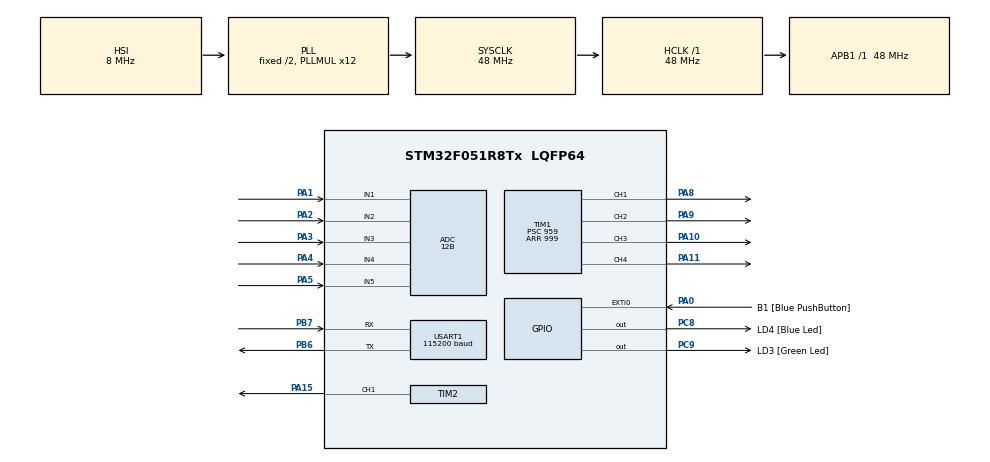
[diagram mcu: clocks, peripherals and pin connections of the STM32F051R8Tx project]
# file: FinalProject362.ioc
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ADC.ClockPrescaler=ADC_CLOCK_ASYNC_DIV1
ADC.ContinuousConvMode=DISABLE
ADC.DMAContinuousRequests=DISABLE
ADC.DataAlign=ADC_DATAALIGN_RIGHT
ADC.DiscontinuousConvMode=DISABLE
ADC.EOCSelection=ADC_EOC_SINGLE_CONV
ADC.EnableAnalogWatchDog=false
ADC.ExternalTrigConv=ADC_SOFTWARE_START
ADC.ExternalTrigConvEdge=ADC_EXTERNALTRIGCONVEDGE_NONE
ADC.LowPowerAutoPowerOff=DISABLE
ADC.LowPowerAutoWait=DISABLE
ADC.Overrun=ADC_OVR_DATA_PRESERVED
ADC.Resolution=ADC_RESOLUTION_12B
ADC.SamplingTime=ADC_SAMPLETIME_1CYCLE_5
ADC.ScanConvMode=ADC_SCAN_DIRECTION_FORWARD
Dma.Request0=USART1_RX
Dma.USART1_RX.0.Direction=DMA_PERIPH_TO_MEMORY
Dma.USART1_RX.0.Instance=DMA1_Channel3
Dma.USART1_RX.0.MemDataAlignment=DMA_MDATAALIGN_BYTE
Dma.USART1_RX.0.MemInc=DMA_MINC_ENABLE
Dma.USART1_RX.0.Mode=DMA_NORMAL
Dma.USART1_RX.0.PeriphDataAlignment=DMA_PDATAALIGN_BYTE
Dma.USART1_RX.0.PeriphInc=DMA_PINC_DISABLE
Dma.USART1_RX.0.Priority=DMA_PRIORITY_LOW
Mcu.Family=STM32F0
Mcu.Name=STM32F051R8Tx
Mcu.Package=LQFP64
NVIC.DMA1_Channel2_3_IRQn=true\:0\:0\:false\:false\:true\:false
NVIC.TIM3_IRQn=true\:0\:0\:false\:false\:true\:true
PA0.GPIO_Label=B1 [Blue PushButton]
PA0.GPIO_ModeDefaultEXTI=GPIO_MODE_EVT_RISING
PA0.Signal=GPXTI0
PA1.Mode=IN1
PA1.Signal=ADC_IN1
PA10.Signal=S_TIM1_CH3
PA11.Signal=S_TIM1_CH4
PA13.GPIO_Label=SWDIO
PA13.Mode=Serial_Wire
PA13.Signal=SYS_SWDIO
PA14.GPIO_Label=SWCLK
PA14.Mode=Serial_Wire
PA14.Signal=SYS_SWCLK
PA15.Signal=S_TIM2_CH1_ETR
PA2.Mode=IN2
PA2.Signal=ADC_IN2
PA3.Mode=IN3
PA3.Signal=ADC_IN3
PA4.Mode=IN4
PA4.Signal=ADC_IN4
PA5.Mode=IN5
PA5.Signal=ADC_IN5
PA8.Signal=S_TIM1_CH1
PA9.Signal=S_TIM1_CH2
PB6.Mode=Asynchronous
PB6.Signal=USART1_TX
PB7.Mode=Asynchronous
PB7.Signal=USART1_RX
PC8.GPIO_Label=LD4 [Blue Led]
PC8.Signal=GPIO_Output
PC9.GPIO_Label=LD3 [Green Led]
PC9.Signal=GPIO_Output
ProjectManager.HeapSize=0x200
ProjectManager.StackSize=0x400
ProjectManager.TargetToolchain=SW4STM32
RCC.AHBFreq_Value=48000000
RCC.APB1Freq_Value=48000000
RCC.APB1TimFreq_Value=48000000
RCC.HCLKFreq_Value=48000000
RCC.PLLMUL=RCC_PLL_MUL12
RCC.SYSCLKFreq_VALUE=48000000
RCC.SYSCLKSource=RCC_SYSCLKSOURCE_PLLCLK
SH.S_TIM1_CH1.0=TIM1_CH1,PWM Generation1 CH1
SH.S_TIM1_CH2.0=TIM1_CH2,PWM Generation2 CH2
SH.S_TIM1_CH3.0=TIM1_CH3,PWM Generation3 CH3
SH.S_TIM1_CH4.0=TIM1_CH4,PWM Generation4 CH4
SH.S_TIM2_CH1_ETR.0=TIM2_CH1,PWM Generation1 CH1
TIM1.Channel-PWM\ Generation1\ CH1=TIM_CHANNEL_1
TIM1.Channel-PWM\ Generation2\ CH2=TIM_CHANNEL_2
TIM1.Channel-PWM\ Generation3\ CH3=TIM_CHANNEL_3
TIM1.Channel-PWM\ Generation4\ CH4=TIM_CHANNEL_4
TIM1.Period=999
TIM1.Prescaler=959
TIM2.Channel-PWM\ Generation1\ CH1=TIM_CHANNEL_1
TIM2.Period=999
TIM2.Prescaler=959
TIM3.Period=999
TIM3.Prescaler=48000
USART1.BaudRate=115200
USART1.Mode=MODE_TX
USART1.VirtualMode-Asynchronous=VM_ASYNC
VP_TIM1_VS_ClockSourceINT.Mode=Internal
VP_TIM2_VS_ClockSourceINT.Mode=Internal
VP_TIM3_VS_ClockSourceINT.Mode=Internal
board=STM32F0DISCOVERY

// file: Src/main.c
/**
  ******************************************************************************
  * @file           : main.c
  * @brief          : Main program body
  ******************************************************************************
  ** This notice applies to any and all portions of this file
  * that are not between comment pairs USER CODE BEGIN and
  * USER CODE END. Other portions of this file, whether
  * inserted by the user or by software development tools
  * are owned by their respective copyright owners.
  *
  * COPYRIGHT(c) 2018 STMicroelectronics
  *
  * Redistribution and use in source and binary forms, with or without modification,
  * are permitted provided that the following conditions are met:
  *   1. Redistributions of source code must retain the above copyright notice,
  *      this list of conditions and the following disclaimer.
  *   2. Redistributions in binary form must reproduce the above copyright notice,
  *      this list of conditions and the following disclaimer in the documentation
  *      and/or other materials provided with the distribution.
  *   3. Neither the name of STMicroelectronics nor the names of its contributors
  *      may be used to endorse or promote products derived from this software
  *      without specific prior written permission.
  *
  * THIS SOFTWARE IS PROVIDED BY THE COPYRIGHT HOLDERS AND CONTRIBUTORS "AS IS"
  * AND ANY EXPRESS OR IMPLIED WARRANTIES, INCLUDING, BUT NOT LIMITED TO, THE
  * IMPLIED WARRANTIES OF MERCHANTABILITY AND FITNESS FOR A PARTICULAR PURPOSE ARE
  * DISCLAIMED. IN NO EVENT SHALL THE COPYRIGHT HOLDER OR CONTRIBUTORS BE LIABLE
  * FOR ANY DIRECT, INDIRECT, INCIDENTAL, SPECIAL, EXEMPLARY, OR CONSEQUENTIAL
  * DAMAGES (INCLUDING, BUT NOT LIMITED TO, PROCUREMENT OF SUBSTITUTE GOODS OR
  * SERVICES; LOSS OF USE, DATA, OR PROFITS; OR BUSINESS INTERRUPTION) HOWEVER
  * CAUSED AND ON ANY THEORY OF LIABILITY, WHETHER IN CONTRACT, STRICT LIABILITY,
  * OR TORT (INCLUDING NEGLIGENCE OR OTHERWISE) ARISING IN ANY WAY OUT OF THE USE
  * OF THIS SOFTWARE, EVEN IF ADVISED OF THE POSSIBILITY OF SUCH DAMAGE.
  *
  ******************************************************************************
  */
#include "main.h"
#include "stm32f0xx_hal.h"

/* USER CODE BEGIN Includes */
#include <string.h>
/* USER CODE END Includes */

ADC_HandleTypeDef hadc;

TIM_HandleTypeDef htim1;
TIM_HandleTypeDef htim2;
TIM_HandleTypeDef htim3;

UART_HandleTypeDef huart1;
DMA_HandleTypeDef hdma_usart1_rx;

/* USER CODE BEGIN PV */
/* Private variables ---------------------------------------------------------*/

/* USER CODE END PV */

void SystemClock_Config(void);
static void MX_GPIO_Init(void);
static void MX_DMA_Init(void);
static void MX_ADC_Init(void);
static void MX_TIM1_Init(void);
static void MX_TIM2_Init(void);
static void MX_TIM3_Init(void);
static void MX_USART1_UART_Init(void);

void HAL_TIM_MspPostInit(TIM_HandleTypeDef *htim);

/* USER CODE BEGIN PFP */
/* Private function prototypes -----------------------------------------------*/
uint32_t adcRead(void);
void adcEnableChannel(int channel);
/* USER CODE END PFP */

/* USER CODE BEGIN 0 */
uint32_t converted1;
uint32_t converted2;
uint32_t converted3;
uint32_t converted4;
uint32_t converted5;
static int msCount = 0;
int convertIT = 0;
int rsp[15] = {0, 2, 2, 1, 0, 1, 0, 0, 2, 1, 1, 2, 0, 2, 1};
int rspi = 0;
/* USER CODE END 0 */

int main(void)
{

  /* MCU Configuration----------------------------------------------------------*/

  /* Reset of all peripherals, Initializes the Flash interface and the Systick. */
  HAL_Init();

  /* Configure the system clock */
  SystemClock_Config();

  /* Initialize all configured peripherals */
  MX_GPIO_Init();
  MX_DMA_Init();
  MX_ADC_Init();
  MX_TIM1_Init();
  MX_TIM2_Init();
  MX_TIM3_Init();
  MX_USART1_UART_Init();
  /* USER CODE BEGIN 2 */
  HAL_TIM_PWM_Start(&htim1, TIM_CHANNEL_1);
  HAL_TIM_PWM_Start(&htim1, TIM_CHANNEL_2);
  HAL_TIM_PWM_Start(&htim1, TIM_CHANNEL_3);
  HAL_TIM_PWM_Start(&htim1, TIM_CHANNEL_4);
  HAL_TIM_PWM_Start(&htim2, TIM_CHANNEL_1);
  HAL_TIM_Base_Start_IT(&htim3);
  HAL_ADC_Start(&hadc);
  /* USER CODE END 2 */

  /* Infinite loop */
  while (1)
  {

  /* USER CODE BEGIN 3 */

	  // CLONE SCRIPT
	  // finger 5
	  adcEnableChannel(1);
	  converted1 = adcRead();
	  //__HAL_TIM_SET_COMPARE(&htim1, TIM_CHANNEL_1, converted1/25);
	  if (converted1 > 2100) {
		  __HAL_TIM_SET_COMPARE(&htim1, TIM_CHANNEL_1, 120);
	  }
	  else {
		  __HAL_TIM_SET_COMPARE(&htim1, TIM_CHANNEL_1, 30);
	  }
	  // finger 4
	  adcEnableChannel(2);
	  converted2 = adcRead();
	  //__HAL_TIM_SET_COMPARE(&htim1, TIM_CHANNEL_2, converted2/25);
	  if (converted2 > 2200) {
		  __HAL_TIM_SET_COMPARE(&htim1, TIM_CHANNEL_2, 60);
	  }
	  else {
		  __HAL_TIM_SET_COMPARE(&htim1, TIM_CHANNEL_2, 120);
	  }
	  // finger 3
	  adcEnableChannel(3);
	  converted3 = adcRead();
	  //__HAL_TIM_SET_COMPARE(&htim1, TIM_CHANNEL_3, converted3/25);
	  if (converted3 > 2300) {
		  __HAL_TIM_SET_COMPARE(&htim1, TIM_CHANNEL_3, 120);
	  }
	  else {
		  __HAL_TIM_SET_COMPARE(&htim1, TIM_CHANNEL_3, 30);
	  }
	  // finger 2
	  adcEnableChannel(4);
	  converted4 = adcRead();
	  //__HAL_TIM_SET_COMPARE(&htim1, TIM_CHANNEL_4, converted4/25);
	  if (converted4 > 2200) {
		  __HAL_TIM_SET_COMPARE(&htim1, TIM_CHANNEL_4, 70);
	  }
	  else {
		  __HAL_TIM_SET_COMPARE(&htim1, TIM_CHANNEL_4, 30);
	  }
	  // finger 1
	  adcEnableChannel(5);
	  converted5 = adcRead();
	  //__HAL_TIM_SET_COMPARE(&htim2, TIM_CHANNEL_1, 120);
	  if (converted5 > 2200) {
		  __HAL_TIM_SET_COMPARE(&htim2, TIM_CHANNEL_1, 120);
	  }
	  else {
		  __HAL_TIM_SET_COMPARE(&htim2, TIM_CHANNEL_1, 30);
	  }
	  // TRANSLATION SCRIPT
	  if (convertIT == 1) {
		  convertIT = 0;
		  if ( (converted1 > 2100) && (converted2 > 2200) && (converted3 > 2300) && (converted4 > 2200) && (converted5 > 2200) ) {
			  // NOTHING
		  }
		  // a
		  else if ( (converted1 > 2100) && (converted2 > 2200) && (converted3 > 2300) && (converted4 > 2200) && (converted5 < 2200) ) {
			  char alphabet[20] = "You entered: a\n\r";
			  HAL_UART_Transmit(&huart1, (uint8_t *)alphabet, strlen(alphabet), 10);
		  }
		  // b
		  else if ( (converted1 > 2100) && (converted2 > 2200) && (converted3 > 2300) && (converted4 < 2200) && (converted5 > 2500) ) {
			  char alphabet[20] = "You entered: b\n\r";
			  HAL_UART_Transmit(&huart1, (uint8_t *)alphabet, strlen(alphabet), 10);
		  }
		  // c
		  else if ( (converted1 > 2100) && (converted2 > 2200) && (converted3 > 2300) && (converted4 < 2200) && (converted5 < 2200) ) {
			  char alphabet[20] = "You entered: c\n\r";
			  HAL_UART_Transmit(&huart1, (uint8_t *)alphabet, strlen(alphabet), 10);
		  }
		  // d
		  else if ( (converted1 > 2100) && (converted2 > 2200) && (converted3 < 2300) && (converted4 > 2200) && (converted5 > 2200) ) {
			  char alphabet[20] = "You entered: d\n\r";
			  HAL_UART_Transmit(&huart1, (uint8_t *)alphabet, strlen(alphabet), 10);
		  }
		  // e
		  else if ( (converted1 > 2100) && (converted2 > 2200) && (converted3 < 2300) && (converted4 > 2200) && (converted5 < 2200) ) {
			  char alphabet[20] = "You entered: e\n\r";
			  HAL_UART_Transmit(&huart1, (uint8_t *)alphabet, strlen(alphabet), 10);
		  }
		  // f
		  else if ( (converted1 > 2100) && (converted2 > 2200) && (converted3 < 2300) && (converted4 < 2200) && (converted5 > 2200) ) {
			  char alphabet[20] = "You entered: f\n\r";
			  HAL_UART_Transmit(&huart1, (uint8_t *)alphabet, strlen(alphabet), 10);
		  }
		  // g
		  else if ( (converted1 > 2100) && (converted2 > 2200) && (converted3 < 2300) && (converted4 < 2200) && (converted5 < 2200) ) {
			  char alphabet[20] = "You entered: g\n\r";
			  HAL_UART_Transmit(&huart1, (uint8_t *)alphabet, strlen(alphabet), 10);
		  }
		  // h
		  else if ( (converted1 > 2100) && (converted2 < 2200) && (converted3 > 2300) && (converted4 > 2200) && (converted5 > 2200) ) {
			  char alphabet[20] = "You entered: h\n\r";
			  HAL_UART_Transmit(&huart1, (uint8_t *)alphabet, strlen(alphabet), 10);
		  }
		  // i
		  else if ( (converted1 > 2100) && (converted2 < 2200) && (converted3 > 2300) && (converted4 > 2200) && (converted5 < 2200) ) {
			  char alphabet[20] = "You entered: i\n\r";
			  HAL_UART_Transmit(&huart1, (uint8_t *)alphabet, strlen(alphabet), 10);
		  }
		  // j
		  else if ( (converted1 > 2100) && (converted2 < 2200) && (converted3 > 2300) && (converted4 < 2200) && (converted5 > 2200) ) {
			  char alphabet[20] = "You entered: j\n\r";
			  HAL_UART_Transmit(&huart1, (uint8_t *)alphabet, strlen(alphabet), 10);
		  }
		  // k
		  else if ( (converted1 > 2100) && (converted2 < 2200) && (converted3 > 2300) && (converted4 < 2200) && (converted5 < 2200) ) {
			  char alphabet[20] = "You entered: k\n\r";
			  HAL_UART_Transmit(&huart1, (uint8_t *)alphabet, strlen(alphabet), 10);
		  }
		  // l
		  else if ( (converted1 > 2100) && (converted2 < 2200) && (converted3 < 2300) && (converted4 > 2200) && (converted5 > 2200) ) {
			  char alphabet[20] = "You entered: l\n\r";
			  HAL_UART_Transmit(&huart1, (uint8_t *)alphabet, strlen(alphabet), 10);
		  }
		  // m
		  else if ( (converted1 > 2100) && (converted2 < 2200) && (converted3 < 2300) && (converted4 > 2200) && (converted5 < 2200) ) {
			  char alphabet[20] = "You entered: m\n\r";
			  HAL_UART_Transmit(&huart1, (uint8_t *)alphabet, strlen(alphabet), 10);
		  }
		  // n
		  else if ( (converted1 > 2100) && (converted2 < 2200) && (converted3 < 2300) && (converted4 < 2200) && (converted5 > 2200) ) {
			  char alphabet[20] = "You entered: n\n\r";
			  HAL_UART_Transmit(&huart1, (uint8_t *)alphabet, strlen(alphabet), 10);
		  }
		  // o
		  else if ( (converted1 > 2100) && (converted2 < 2200) && (converted3 < 2300) && (converted4 < 2200) && (converted5 < 2200) ) {
			  char alphabet[20] = "You entered: o\n\r";
			  HAL_UART_Transmit(&huart1, (uint8_t *)alphabet, strlen(alphabet), 10);
		  }
          // p
          else if ( (converted1 < 2100) && (converted2 > 2200) && (converted3 > 2300) && (converted4 > 2200) && (converted5 > 2200) ) {
              char alphabet[20] = "You entered: p\n\r";
              HAL_UART_Transmit(&huart1, (uint8_t *)alphabet, strlen(alphabet), 10);
          }
		  // q
		  else if ( (converted1 < 2100) && (converted2 > 2200) && (converted3 > 2300) && (converted4 > 2200) && (converted5 < 2200) ) {
			  char alphabet[20] = "You entered: q\n\r";
			  HAL_UART_Transmit(&huart1, (uint8_t *)alphabet, strlen(alphabet), 10);
		  }
		  // r
		  else if ( (converted1 < 2100) && (converted2 > 2200) && (converted3 > 2300) && (converted4 < 2200) && (converted5 > 2200) ) {
			  char alphabet[20] = "You entered: r\n\r";
			  HAL_UART_Transmit(&huart1, (uint8_t *)alphabet, strlen(alphabet), 10);
		  }
		  // s
		  else if ( (converted1 < 2100) && (converted2 > 2200) && (converted3 > 2300) && (converted4 < 2200) && (converted5 < 2200) ) {
			  char alphabet[20] = "You entered: s\n\r";
			  HAL_UART_Transmit(&huart1, (uint8_t *)alphabet, strlen(alphabet), 10);
		  }
		  // t
		  else if ( (converted1 < 2100) && (converted2 > 2200) && (converted3 < 2300) && (converted4 > 2200) && (converted5 > 2200) ) {
			  char alphabet[20] = "You entered: t\n\r";
			  HAL_UART_Transmit(&huart1, (uint8_t *)alphabet, strlen(alphabet), 10);
		  }
		  // u
		  else if ( (converted1 < 2100) && (converted2 > 2200) && (converted3 < 2300) && (converted4 > 2200) && (converted5 < 2200) ) {
			  char alphabet[20] = "You entered: u\n\r";
			  HAL_UART_Transmit(&huart1, (uint8_t *)alphabet, strlen(alphabet), 10);
		  }
		  // v
		  else if ( (converted1 < 2100) && (converted2 > 2200) && (converted3 < 2300) && (converted4 < 2200) && (converted5 > 2200) ) {
			  char alphabet[20] = "You entered: v\n\r";
			  HAL_UART_Transmit(&huart1, (uint8_t *)alphabet, strlen(alphabet), 10);
		  }
		  // w
		  else if ( (converted1 < 2100) && (converted2 > 2200) && (converted3 < 2300) && (converted4 < 2200) && (converted5 < 2200) ) {
			  char alphabet[20] = "You entered: w\n\r";
			  HAL_UART_Transmit(&huart1, (uint8_t *)alphabet, strlen(alphabet), 10);
		  }
		  // x
		  else if ( (converted1 < 2100) && (converted2 < 2200) && (converted3 > 2300) && (converted4 > 2200) && (converted5 > 2200) ) {
			  char alphabet[20] = "You entered: x\n\r";
			  HAL_UART_Transmit(&huart1, (uint8_t *)alphabet, strlen(alphabet), 10);
		  }
		  // y
		  else if ( (converted1 < 2100) && (converted2 < 2200) && (converted3 > 2300) && (converted4 > 2200) && (converted5 < 2200) ) {
			  char alphabet[20] = "You entered: y\n\r";
			  HAL_UART_Transmit(&huart1, (uint8_t *)alphabet, strlen(alphabet), 10);
		  }
		  // z
		  else if ( (converted1 < 2100) && (converted2 < 2200) && (converted3 > 2300) && (converted4 < 2200) && (converted5 > 2200) ) {
			  char alphabet[20] = "You entered: z\n\r";
			  HAL_UART_Transmit(&huart1, (uint8_t *)alphabet, strlen(alphabet), 10);
		  }
		  // space
		  else if ( (converted1 < 2100) && (converted2 < 2200) && (converted3 < 2300) && (converted4 < 2200) && (converted5 > 2200) ) {
			  char alphabet[20] = " ";
			  HAL_UART_Transmit(&huart1, (uint8_t *)alphabet, strlen(alphabet), 10);
		  }
		  // newline
		  else if ( (converted1 < 2100) && (converted2 < 2200) && (converted3 < 2300) && (converted4 < 2200) && (converted5 < 2200) ) {
			  char alphabet[20] = "\n\r";
			  HAL_UART_Transmit(&huart1, (uint8_t *)alphabet, strlen(alphabet), 10);
		  }
	  }
	  /*
	  // Rock Scissors Paper
	  if (convertIT == 1) {
		  convertIT = 0;
		  adcEnableChannel(1);
		  converted1 = adcRead();
		  adcEnableChannel(2);
		  converted2 = adcRead();
		  adcEnableChannel(3);
		  converted3 = adcRead();
		  adcEnableChannel(4);
		  converted4 = adcRead();
		  adcEnableChannel(5);
		  converted5 = adcRead();
		  if (rsp[rspi] == 0) {
			  __HAL_TIM_SET_COMPARE(&htim1, TIM_CHANNEL_1, 30);
			  __HAL_TIM_SET_COMPARE(&htim1, TIM_CHANNEL_2, 120);
			  __HAL_TIM_SET_COMPARE(&htim1, TIM_CHANNEL_3, 30);
			  __HAL_TIM_SET_COMPARE(&htim1, TIM_CHANNEL_4, 30);
			  __HAL_TIM_SET_COMPARE(&htim2, TIM_CHANNEL_1, 30);
			  if ( converted1 > 2200 && converted2 > 2200 && converted3 > 2200 && converted4 > 2200 && converted5 > 2200 ) {
				  char alphabet[20] = "You won!!\n\r";
				  HAL_UART_Transmit(&huart1, (uint8_t *)alphabet, strlen(alphabet), 10);
			  }
			  else {
				  char alphabet[20] = "You lost!!\n\r";
				  HAL_UART_Transmit(&huart1, (uint8_t *)alphabet, strlen(alphabet), 10);
			  }
		  }
		  else if (rsp[rspi] == 1) {
			  __HAL_TIM_SET_COMPARE(&htim1, TIM_CHANNEL_1, 30);
			  __HAL_TIM_SET_COMPARE(&htim1, TIM_CHANNEL_2, 120);
			  __HAL_TIM_SET_COMPARE(&htim1, TIM_CHANNEL_3, 120);
			  __HAL_TIM_SET_COMPARE(&htim1, TIM_CHANNEL_4, 120);
			  __HAL_TIM_SET_COMPARE(&htim2, TIM_CHANNEL_1, 30);
			  if ( converted1 < 2200 && converted2 < 2200 && converted3 < 2200 && converted4 < 2200 && converted5 < 2200 ) {
				  char alphabet[20] = "You won!!\n\r";
				  HAL_UART_Transmit(&huart1, (uint8_t *)alphabet, strlen(alphabet), 10);
			  }
			  else {
				  char alphabet[20] = "You lost!!\n\r";
				  HAL_UART_Transmit(&huart1, (uint8_t *)alphabet, strlen(alphabet), 10);
			  }
		  }
		  else if (rsp[rspi] == 2) {
			  __HAL_TIM_SET_COMPARE(&htim1, TIM_CHANNEL_1, 120);
			  __HAL_TIM_SET_COMPARE(&htim1, TIM_CHANNEL_2, 30);
			  __HAL_TIM_SET_COMPARE(&htim1, TIM_CHANNEL_3, 120);
			  __HAL_TIM_SET_COMPARE(&htim1, TIM_CHANNEL_4, 120);
			  __HAL_TIM_SET_COMPARE(&htim2, TIM_CHANNEL_1, 120);
			  if ( converted1 < 2200 && converted2 < 2200 && converted3 > 2000 && converted4 > 2000 && converted5 < 2200 ) {
				  char alphabet[20] = "You won!!\n\r";
				  HAL_UART_Transmit(&huart1, (uint8_t *)alphabet, strlen(alphabet), 10);
			  }
			  else {
				  char alphabet[20] = "You lost!!\n\r";
				  HAL_UART_Transmit(&huart1, (uint8_t *)alphabet, strlen(alphabet), 10);
			  }
		  }
	  }
	  */
  }
  /* USER CODE END 3 */
}

void SystemClock_Config(void)
{

  RCC_OscInitTypeDef RCC_OscInitStruct;
  RCC_ClkInitTypeDef RCC_ClkInitStruct;
  RCC_PeriphCLKInitTypeDef PeriphClkInit;

    /**Initializes the CPU, AHB and APB busses clocks
    */
  RCC_OscInitStruct.OscillatorType = RCC_OSCILLATORTYPE_HSI|RCC_OSCILLATORTYPE_HSI14;
  RCC_OscInitStruct.HSIState = RCC_HSI_ON;
  RCC_OscInitStruct.HSI14State = RCC_HSI14_ON;
  RCC_OscInitStruct.HSICalibrationValue = 16;
  RCC_OscInitStruct.HSI14CalibrationValue = 16;
  RCC_OscInitStruct.PLL.PLLState = RCC_PLL_ON;
  RCC_OscInitStruct.PLL.PLLSource = RCC_PLLSOURCE_HSI;
  RCC_OscInitStruct.PLL.PLLMUL = RCC_PLL_MUL12;
  RCC_OscInitStruct.PLL.PREDIV = RCC_PREDIV_DIV1;
  if (HAL_RCC_OscConfig(&RCC_OscInitStruct) != HAL_OK)
  {
    _Error_Handler(__FILE__, __LINE__);
  }

    /**Initializes the CPU, AHB and APB busses clocks
    */
  RCC_ClkInitStruct.ClockType = RCC_CLOCKTYPE_HCLK|RCC_CLOCKTYPE_SYSCLK
                              |RCC_CLOCKTYPE_PCLK1;
  RCC_ClkInitStruct.SYSCLKSource = RCC_SYSCLKSOURCE_PLLCLK;
  RCC_ClkInitStruct.AHBCLKDivider = RCC_SYSCLK_DIV1;
  RCC_ClkInitStruct.APB1CLKDivider = RCC_HCLK_DIV1;

  if (HAL_RCC_ClockConfig(&RCC_ClkInitStruct, FLASH_LATENCY_1) != HAL_OK)
  {
    _Error_Handler(__FILE__, __LINE__);
  }

  PeriphClkInit.PeriphClockSelection = RCC_PERIPHCLK_USART1;
  PeriphClkInit.Usart1ClockSelection = RCC_USART1CLKSOURCE_PCLK1;
  if (HAL_RCCEx_PeriphCLKConfig(&PeriphClkInit) != HAL_OK)
  {
    _Error_Handler(__FILE__, __LINE__);
  }

    /**Configure the Systick interrupt time
    */
  HAL_SYSTICK_Config(HAL_RCC_GetHCLKFreq()/1000);

    /**Configure the Systick
    */
  HAL_SYSTICK_CLKSourceConfig(SYSTICK_CLKSOURCE_HCLK);

  /* SysTick_IRQn interrupt configuration */
  HAL_NVIC_SetPriority(SysTick_IRQn, 0, 0);
}

/* ADC init function */
static void MX_ADC_Init(void)
{

  ADC_ChannelConfTypeDef sConfig;

    /**Configure the global features of the ADC (Clock, Resolution, Data Alignment and number of conversion)
    */
  hadc.Instance = ADC1;
  hadc.Init.ClockPrescaler = ADC_CLOCK_ASYNC_DIV1;
  hadc.Init.Resolution = ADC_RESOLUTION_12B;
  hadc.Init.DataAlign = ADC_DATAALIGN_RIGHT;
  hadc.Init.ScanConvMode = ADC_SCAN_DIRECTION_FORWARD;
  hadc.Init.EOCSelection = ADC_EOC_SINGLE_CONV;
  hadc.Init.LowPowerAutoWait = DISABLE;
  hadc.Init.LowPowerAutoPowerOff = DISABLE;
  hadc.Init.ContinuousConvMode = DISABLE;
  hadc.Init.DiscontinuousConvMode = DISABLE;
  hadc.Init.ExternalTrigConv = ADC_SOFTWARE_START;
  hadc.Init.ExternalTrigConvEdge = ADC_EXTERNALTRIGCONVEDGE_NONE;
  hadc.Init.DMAContinuousRequests = DISABLE;
  hadc.Init.Overrun = ADC_OVR_DATA_PRESERVED;
  if (HAL_ADC_Init(&hadc) != HAL_OK)
  {
    _Error_Handler(__FILE__, __LINE__);
  }

    /**Configure for the selected ADC regular channel to be converted.
    */
  sConfig.Channel = ADC_CHANNEL_1;
  sConfig.Rank = ADC_RANK_CHANNEL_NUMBER;
  sConfig.SamplingTime = ADC_SAMPLETIME_1CYCLE_5;
  if (HAL_ADC_ConfigChannel(&hadc, &sConfig) != HAL_OK)
  {
    _Error_Handler(__FILE__, __LINE__);
  }

    /**Configure for the selected ADC regular channel to be converted.
    */
  sConfig.Channel = ADC_CHANNEL_2;
  if (HAL_ADC_ConfigChannel(&hadc, &sConfig) != HAL_OK)
  {
    _Error_Handler(__FILE__, __LINE__);
  }

    /**Configure for the selected ADC regular channel to be converted.
    */
  sConfig.Channel = ADC_CHANNEL_3;
  if (HAL_ADC_ConfigChannel(&hadc, &sConfig) != HAL_OK)
  {
    _Error_Handler(__FILE__, __LINE__);
  }

    /**Configure for the selected ADC regular channel to be converted.
    */
  sConfig.Channel = ADC_CHANNEL_4;
  if (HAL_ADC_ConfigChannel(&hadc, &sConfig) != HAL_OK)
  {
    _Error_Handler(__FILE__, __LINE__);
  }

    /**Configure for the selected ADC regular channel to be converted.
    */
  sConfig.Channel = ADC_CHANNEL_5;
  if (HAL_ADC_ConfigChannel(&hadc, &sConfig) != HAL_OK)
  {
    _Error_Handler(__FILE__, __LINE__);
  }

}

/* TIM1 init function */
static void MX_TIM1_Init(void)
{

  TIM_ClockConfigTypeDef sClockSourceConfig;
  TIM_MasterConfigTypeDef sMasterConfig;
  TIM_OC_InitTypeDef sConfigOC;
  TIM_BreakDeadTimeConfigTypeDef sBreakDeadTimeConfig;

  htim1.Instance = TIM1;
  htim1.Init.Prescaler = 959;
  htim1.Init.CounterMode = TIM_COUNTERMODE_UP;
  htim1.Init.Period = 999;
  htim1.Init.ClockDivision = TIM_CLOCKDIVISION_DIV1;
  htim1.Init.RepetitionCounter = 0;
  htim1.Init.AutoReloadPreload = TIM_AUTORELOAD_PRELOAD_DISABLE;
  if (HAL_TIM_Base_Init(&htim1) != HAL_OK)
  {
    _Error_Handler(__FILE__, __LINE__);
  }

  sClockSourceConfig.ClockSource = TIM_CLOCKSOURCE_INTERNAL;
  if (HAL_TIM_ConfigClockSource(&htim1, &sClockSourceConfig) != HAL_OK)
  {
    _Error_Handler(__FILE__, __LINE__);
  }

  if (HAL_TIM_PWM_Init(&htim1) != HAL_OK)
  {
    _Error_Handler(__FILE__, __LINE__);
  }

  sMasterConfig.MasterOutputTrigger = TIM_TRGO_RESET;
  sMasterConfig.MasterSlaveMode = TIM_MASTERSLAVEMODE_DISABLE;
  if (HAL_TIMEx_MasterConfigSynchronization(&htim1, &sMasterConfig) != HAL_OK)
  {
    _Error_Handler(__FILE__, __LINE__);
  }

  sConfigOC.OCMode = TIM_OCMODE_PWM1;
  sConfigOC.Pulse = 0;
  sConfigOC.OCPolarity = TIM_OCPOLARITY_HIGH;
  sConfigOC.OCNPolarity = TIM_OCNPOLARITY_HIGH;
  sConfigOC.OCFastMode = TIM_OCFAST_DISABLE;
  sConfigOC.OCIdleState = TIM_OCIDLESTATE_RESET;
  sConfigOC.OCNIdleState = TIM_OCNIDLESTATE_RESET;
  if (HAL_TIM_PWM_ConfigChannel(&htim1, &sConfigOC, TIM_CHANNEL_1) != HAL_OK)
  {
    _Error_Handler(__FILE__, __LINE__);
  }

  if (HAL_TIM_PWM_ConfigChannel(&htim1, &sConfigOC, TIM_CHANNEL_2) != HAL_OK)
  {
    _Error_Handler(__FILE__, __LINE__);
  }

  if (HAL_TIM_PWM_ConfigChannel(&htim1, &sConfigOC, TIM_CHANNEL_3) != HAL_OK)
  {
    _Error_Handler(__FILE__, __LINE__);
  }

  if (HAL_TIM_PWM_ConfigChannel(&htim1, &sConfigOC, TIM_CHANNEL_4) != HAL_OK)
  {
    _Error_Handler(__FILE__, __LINE__);
  }

  sBreakDeadTimeConfig.OffStateRunMode = TIM_OSSR_DISABLE;
  sBreakDeadTimeConfig.OffStateIDLEMode = TIM_OSSI_DISABLE;
  sBreakDeadTimeConfig.LockLevel = TIM_LOCKLEVEL_OFF;
  sBreakDeadTimeConfig.DeadTime = 0;
  sBreakDeadTimeConfig.BreakState = TIM_BREAK_DISABLE;
  sBreakDeadTimeConfig.BreakPolarity = TIM_BREAKPOLARITY_HIGH;
  sBreakDeadTimeConfig.AutomaticOutput = TIM_AUTOMATICOUTPUT_DISABLE;
  if (HAL_TIMEx_ConfigBreakDeadTime(&htim1, &sBreakDeadTimeConfig) != HAL_OK)
  {
    _Error_Handler(__FILE__, __LINE__);
  }

  HAL_TIM_MspPostInit(&htim1);

}

/* TIM2 init function */
static void MX_TIM2_Init(void)
{

  TIM_ClockConfigTypeDef sClockSourceConfig;
  TIM_MasterConfigTypeDef sMasterConfig;
  TIM_OC_InitTypeDef sConfigOC;

  htim2.Instance = TIM2;
  htim2.Init.Prescaler = 959;
  htim2.Init.CounterMode = TIM_COUNTERMODE_UP;
  htim2.Init.Period = 999;
  htim2.Init.ClockDivision = TIM_CLOCKDIVISION_DIV1;
  htim2.Init.AutoReloadPreload = TIM_AUTORELOAD_PRELOAD_DISABLE;
  if (HAL_TIM_Base_Init(&htim2) != HAL_OK)
  {
    _Error_Handler(__FILE__, __LINE__);
  }

  sClockSourceConfig.ClockSource = TIM_CLOCKSOURCE_INTERNAL;
  if (HAL_TIM_ConfigClockSource(&htim2, &sClockSourceConfig) != HAL_OK)
  {
    _Error_Handler(__FILE__, __LINE__);
  }

  if (HAL_TIM_PWM_Init(&htim2) != HAL_OK)
  {
    _Error_Handler(__FILE__, __LINE__);
  }

  sMasterConfig.MasterOutputTrigger = TIM_TRGO_RESET;
  sMasterConfig.MasterSlaveMode = TIM_MASTERSLAVEMODE_DISABLE;
  if (HAL_TIMEx_MasterConfigSynchronization(&htim2, &sMasterConfig) != HAL_OK)
  {
    _Error_Handler(__FILE__, __LINE__);
  }

  sConfigOC.OCMode = TIM_OCMODE_PWM1;
  sConfigOC.Pulse = 0;
  sConfigOC.OCPolarity = TIM_OCPOLARITY_HIGH;
  sConfigOC.OCFastMode = TIM_OCFAST_DISABLE;
  if (HAL_TIM_PWM_ConfigChannel(&htim2, &sConfigOC, TIM_CHANNEL_1) != HAL_OK)
  {
    _Error_Handler(__FILE__, __LINE__);
  }

  HAL_TIM_MspPostInit(&htim2);

}

/* TIM3 init function */
static void MX_TIM3_Init(void)
{

  TIM_ClockConfigTypeDef sClockSourceConfig;
  TIM_MasterConfigTypeDef sMasterConfig;

  htim3.Instance = TIM3;
  htim3.Init.Prescaler = 48000;
  htim3.Init.CounterMode = TIM_COUNTERMODE_UP;
  htim3.Init.Period = 999;
  htim3.Init.ClockDivision = TIM_CLOCKDIVISION_DIV1;
  htim3.Init.AutoReloadPreload = TIM_AUTORELOAD_PRELOAD_DISABLE;
  if (HAL_TIM_Base_Init(&htim3) != HAL_OK)
  {
    _Error_Handler(__FILE__, __LINE__);
  }

  sClockSourceConfig.ClockSource = TIM_CLOCKSOURCE_INTERNAL;
  if (HAL_TIM_ConfigClockSource(&htim3, &sClockSourceConfig) != HAL_OK)
  {
    _Error_Handler(__FILE__, __LINE__);
  }

  sMasterConfig.MasterOutputTrigger = TIM_TRGO_RESET;
  sMasterConfig.MasterSlaveMode = TIM_MASTERSLAVEMODE_DISABLE;
  if (HAL_TIMEx_MasterConfigSynchronization(&htim3, &sMasterConfig) != HAL_OK)
  {
    _Error_Handler(__FILE__, __LINE__);
  }

}

/* USART1 init function */
static void MX_USART1_UART_Init(void)
{

  huart1.Instance = USART1;
  huart1.Init.BaudRate = 115200;
  huart1.Init.WordLength = UART_WORDLENGTH_8B;
  huart1.Init.StopBits = UART_STOPBITS_1;
  huart1.Init.Parity = UART_PARITY_NONE;
  huart1.Init.Mode = UART_MODE_TX;
  huart1.Init.HwFlowCtl = UART_HWCONTROL_NONE;
  huart1.Init.OverSampling = UART_OVERSAMPLING_16;
  huart1.Init.OneBitSampling = UART_ONE_BIT_SAMPLE_DISABLE;
  huart1.AdvancedInit.AdvFeatureInit = UART_ADVFEATURE_NO_INIT;
  if (HAL_UART_Init(&huart1) != HAL_OK)
  {
    _Error_Handler(__FILE__, __LINE__);
  }

}

static void MX_DMA_Init(void)
{
  /* DMA controller clock enable */
  __HAL_RCC_DMA1_CLK_ENABLE();

  /* DMA interrupt init */
  /* DMA1_Channel2_3_IRQn interrupt configuration */
  HAL_NVIC_SetPriority(DMA1_Channel2_3_IRQn, 0, 0);
  HAL_NVIC_EnableIRQ(DMA1_Channel2_3_IRQn);

}

/** Configure pins as
        * Analog
        * Input
        * Output
        * EVENT_OUT
        * EXTI
*/
static void MX_GPIO_Init(void)
{

  GPIO_InitTypeDef GPIO_InitStruct;

  /* GPIO Ports Clock Enable */
  __HAL_RCC_GPIOA_CLK_ENABLE();
  __HAL_RCC_GPIOC_CLK_ENABLE();
  __HAL_RCC_GPIOB_CLK_ENABLE();

  /*Configure GPIO pin Output Level */
  HAL_GPIO_WritePin(GPIOC, LD4_Pin|LD3_Pin, GPIO_PIN_RESET);

  /*Configure GPIO pin : B1_Pin */
  GPIO_InitStruct.Pin = B1_Pin;
  GPIO_InitStruct.Mode = GPIO_MODE_EVT_RISING;
  GPIO_InitStruct.Pull = GPIO_NOPULL;
  HAL_GPIO_Init(B1_GPIO_Port, &GPIO_InitStruct);

  /*Configure GPIO pins : LD4_Pin LD3_Pin */
  GPIO_InitStruct.Pin = LD4_Pin|LD3_Pin;
  GPIO_InitStruct.Mode = GPIO_MODE_OUTPUT_PP;
  GPIO_InitStruct.Pull = GPIO_NOPULL;
  GPIO_InitStruct.Speed = GPIO_SPEED_FREQ_LOW;
  HAL_GPIO_Init(GPIOC, &GPIO_InitStruct);

}

/* USER CODE BEGIN 4 */
// TIM3_ISR
void HAL_TIM_PeriodElapsedCallback(TIM_HandleTypeDef *htim) {
	if (htim->Instance == TIM3) {
		if (msCount == 3) {
			convertIT = 1;
			rspi = rspi + 1;
			if (rspi == 20) {
				rspi = 0;
			}
			GPIOC -> ODR ^= 0x00000300;
			msCount = 0;
		}
		else if (msCount == 2) {
			GPIOC -> ODR ^= 0x00000300;
			msCount = msCount + 1;
		}
		else {
			msCount = msCount + 1;
		}
	}
}
// ADC channel enable function
void adcEnableChannel(int channel) {
	// Wait for ADC to be ready
	while ((ADC1 -> ISR & ADC_ISR_ADRDY) == 0);
	// Ensure ADCStart = 0
	while ((ADC1 -> CR & ADC_CR_ADSTART) == 1);
	ADC1 -> CHSELR = 0;
	ADC1 -> CHSELR |= 1 << channel;
}
// ADC read function
uint32_t adcRead(void) {
	uint32_t adcValue = 0;
	// Wait for ADC to be ready
	while ((ADC1 -> ISR & ADC_ISR_ADRDY) == 0);
	// Start the ADC (ADCStart = 1)
	ADC1 -> CR |= ADC_CR_ADSTART;
	// Wait for end of conversion
	while ((ADC1 -> ISR & ADC_ISR_EOC) == 0);
	adcValue = ADC1 -> DR;

	return adcValue;
}
/* USER CODE END 4 */

void _Error_Handler(char *file, int line)
{
  while(1)
  {
  }
}

/************************ (C) COPYRIGHT STMicroelectronics *****END OF FILE****/
